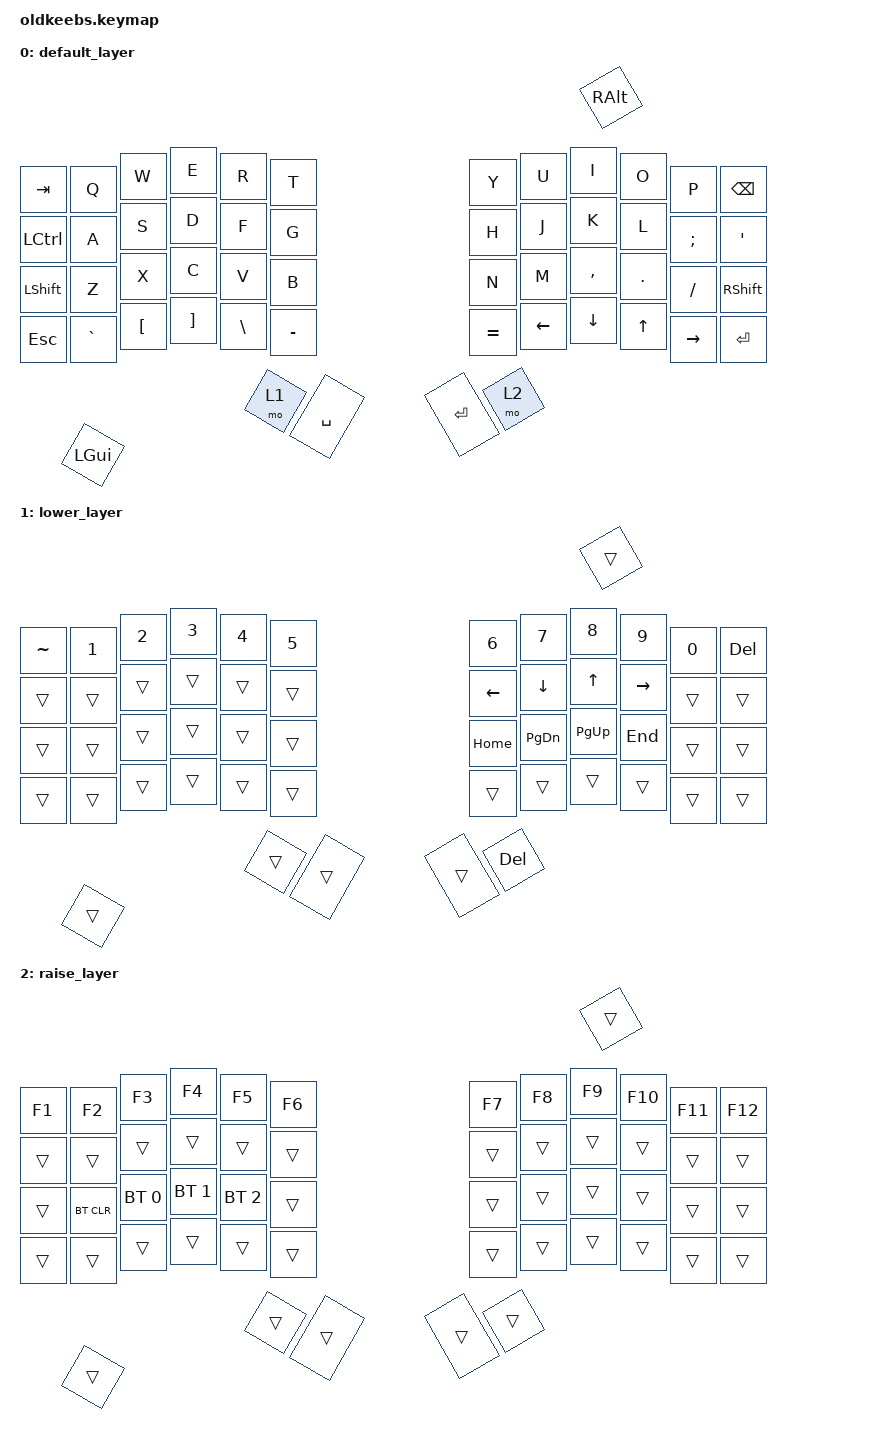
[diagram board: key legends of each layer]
#include <behaviors.dtsi>
#include <dt-bindings/zmk/keys.h>
#include <dt-bindings/zmk/bt.h>

/ {
    keymap {
        compatible = "zmk,keymap";

        default_layer {
            bindings = <
                &kp TAB   &kp Q    &kp W    &kp E    &kp R    &kp T         &kp Y    &kp U    &kp I    &kp O    &kp P    &kp BSPC
                &kp LCTRL &kp A    &kp S    &kp D    &kp F    &kp G         &kp H    &kp J    &kp K    &kp L    &kp SEMI &kp SQT
                &kp LSHFT &kp Z    &kp X    &kp C    &kp V    &kp B         &kp N    &kp M    &kp COMMA &kp DOT &kp FSLH &kp RSHFT
                &kp ESC   &kp GRAVE &kp LBKT &kp RBKT &kp BSLH &kp MINUS    &kp EQUAL &kp LEFT &kp DOWN &kp UP  &kp RIGHT &kp RET
                                            &kp LGUI &mo 1    &kp SPACE     &kp RET  &mo 2    &kp RALT
            >;
        };

        lower_layer {
            bindings = <
                &kp TILDE &kp N1   &kp N2   &kp N3   &kp N4   &kp N5        &kp N6   &kp N7   &kp N8   &kp N9   &kp N0   &kp DEL
                &trans    &trans   &trans   &trans   &trans   &trans        &kp LEFT &kp DOWN &kp UP   &kp RIGHT &trans  &trans
                &trans    &trans   &trans   &trans   &trans   &trans        &kp HOME &kp PG_DN &kp PG_UP &kp END &trans  &trans
                &trans    &trans   &trans   &trans   &trans   &trans        &trans   &trans   &trans   &trans   &trans   &trans
                                            &trans   &trans   &trans        &trans   &kp DEL  &trans   
            >;
        };

        raise_layer {
            bindings = <
                &kp F1    &kp F2   &kp F3   &kp F4   &kp F5   &kp F6        &kp F7   &kp F8   &kp F9   &kp F10  &kp F11  &kp F12
                &trans    &trans   &trans   &trans   &trans   &trans        &trans   &trans   &trans   &trans   &trans   &trans
                &trans    &bt BT_CLR &bt BT_SEL 0 &bt BT_SEL 1 &bt BT_SEL 2 &trans  &trans   &trans   &trans   &trans   &trans   &trans
                &trans    &trans   &trans   &trans   &trans   &trans        &trans   &trans   &trans   &trans   &trans   &trans
                                            &trans   &trans   &trans        &trans   &trans   &trans   
            >;
        };
    };
};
